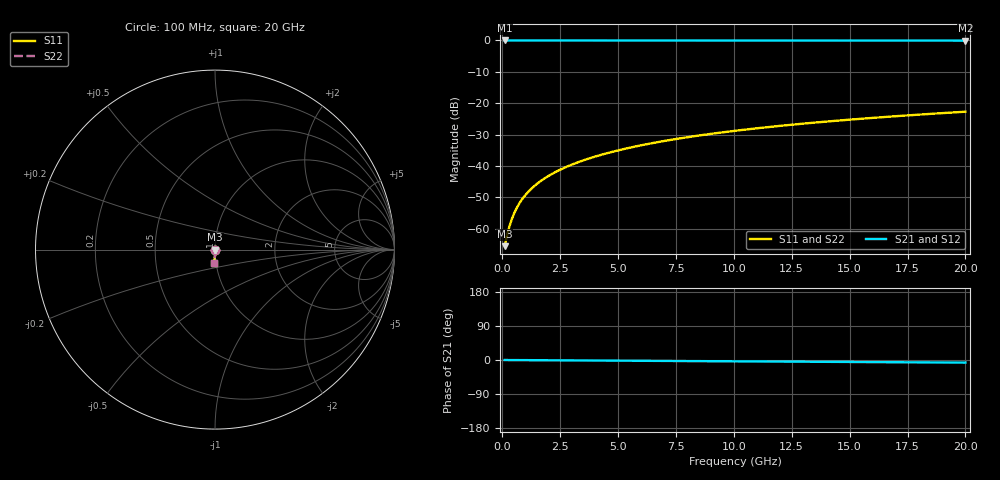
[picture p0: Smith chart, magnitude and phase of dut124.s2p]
! Touchstone file exported from HFSS 2026.1.0
!  File:  C:/ffzhzh/LocalFiles/Ansys_Project_Files/temp_train_TSV_124_1782990011_42984.aedt
!  Generated:  07:01:37 PM Jul  2, 2026
!  Design:  TSV
!  Project:  temp_train_TSV_124_1782990011_42984
! Variables:
!  h_bsmrdl = 2um
!  h_ox = 20um
!  h_rdl = 5um
!  h_sub = 58.39um
!  h_tmrdl = 5um
!  h_tsv = 58.39um
!  h_via = 3um
!  l_bsmrdl = 300um
!  l_sub = 408.26um
!  l_tmrdl = 200um
!  m_sub = 200um
!  pitch = 9.96um
!  r_tsv = 4.13um
!  s_tmrdl = 10um
!  w_bsmrdl = 18um
!  w_sub = 500um
!  w_tmrdl = 12um
!  x_tsv_center1 = 206um
!  x_tsv_center2 = 524um
!  x_tsv_center3 = 736um
!  x_tsv_center4 = 1054um
!  x_tsv_center5 = 1266um
!  x_tsv_center6 = 1584um
# GHz S MA R 50.000000
! Terminal data exported
! Port[1] = TSV1_1_T1
! Port[2] = TSV1_1_T2
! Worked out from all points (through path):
!   200 points, 100 MHz to 20 GHz, reference 50 ohm
!   highest |S21| = 0.00 dB at 100 MHz (marker M1); lowest = 0.0 dB at 20 GHz (marker M2)
!   lowest |S11| = -65.6 dB at 100 MHz (marker M3), VSWR 1.00, Z = 50 - j0.0291 ohm
!   |S11| at or under -10 dB: start of sweep to end of sweep
!   |S22| runs from -65.6 to -22.7 dB; largest |S21 - S12| = 2.9e-15
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0.1  0.0005242 -33.7  0.9996 -0.0  0.9996 -0.0  0.0005242 -33.7
! Gamma 0 0 0 0
! Port Impedance 50 0 50 0
0.2  0.0007604 -51.9  0.9995 -0.1  0.9995 -0.1  0.0007604 -51.9
0.3  0.001055 -61.3  0.9995 -0.1  0.9995 -0.1  0.001055 -61.3
0.4  0.001377 -66.9  0.9995 -0.1  0.9995 -0.1  0.001377 -66.9
0.5  0.001711 -70.7  0.9994 -0.2  0.9994 -0.2  0.001711 -70.7
0.6  0.002052 -73.4  0.9994 -0.2  0.9994 -0.2  0.002052 -73.4
0.8  0.002741 -77.0  0.9994 -0.3  0.9994 -0.3  0.002741 -77.0
1.1  0.003782 -80.2  0.9993 -0.4  0.9993 -0.4  0.003782 -80.2
1.3  0.004478 -81.6  0.9993 -0.5  0.9993 -0.5  0.004478 -81.6
1.5  0.005175 -82.6  0.9993 -0.5  0.9993 -0.5  0.005175 -82.6
1.8  0.006224 -83.7  0.9992 -0.6  0.9992 -0.6  0.006224 -83.7
2.1  0.007276 -84.5  0.9992 -0.8  0.9992 -0.8  0.007276 -84.5
2.7  0.009391 -85.6  0.9991 -1.0  0.9991 -1.0  0.009391 -85.6
3.5  0.01224 -86.5  0.9989 -1.2  0.9989 -1.2  0.01224 -86.5
4.2  0.01475 -87.1  0.9988 -1.5  0.9988 -1.5  0.01475 -87.1
5  0.01765 -87.7  0.9986 -1.8  0.9986 -1.8  0.01765 -87.7
6.8  0.02424 -88.7  0.9982 -2.4  0.9982 -2.4  0.02424 -88.7
8.3  0.02977 -89.5  0.9978 -2.9  0.9978 -2.9  0.02977 -89.5
10.1  0.03643 -90.4  0.9974 -3.5  0.9974 -3.5  0.03643 -90.4
13.4  0.04866 -91.9  0.9965 -4.6  0.9965 -4.6  0.04866 -91.9
16.7  0.06087 -93.3  0.9956 -5.8  0.9956 -5.8  0.06087 -93.3
20  0.07306 -94.6  0.9945 -6.9  0.9945 -6.9  0.07306 -94.6
